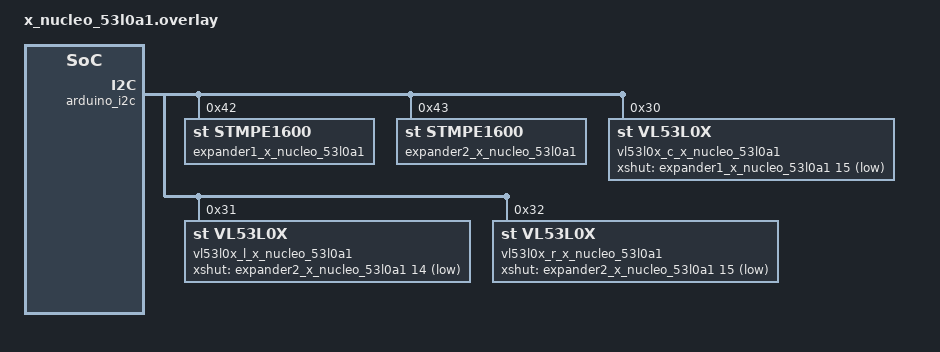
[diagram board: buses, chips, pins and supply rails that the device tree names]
/*
 * Copyright (c) 2021 Titouan Christophe
 *
 * SPDX-License-Identifier: Apache-2.0
 */
&arduino_i2c {
	expander1_x_nucleo_53l0a1: stmpe1600@42 {
		compatible = "st,stmpe1600";
		reg = <0x42>;
		ngpios = <16>;
		gpio-controller;
		#gpio-cells = <2>;
	};
	expander2_x_nucleo_53l0a1: stmpe1600@43 {
		compatible = "st,stmpe1600";
		reg = <0x43>;
		ngpios = <16>;
		gpio-controller;
		#gpio-cells = <2>;
	};

	/* Center sensor soldered on the shield */
	vl53l0x_c_x_nucleo_53l0a1: vl53l0x@30 {
		compatible = "st,vl53l0x";
		reg = <0x30>;
		xshut-gpios = <&expander1_x_nucleo_53l0a1 15 GPIO_ACTIVE_LOW>;
	};

	/* Satellites optional sensors */
	vl53l0x_l_x_nucleo_53l0a1: vl53l0x@31 {
		compatible = "st,vl53l0x";
		reg = <0x31>;
		xshut-gpios = <&expander2_x_nucleo_53l0a1 14 GPIO_ACTIVE_LOW>;
	};
	vl53l0x_r_x_nucleo_53l0a1: vl53l0x@32 {
		compatible = "st,vl53l0x";
		reg = <0x32>;
		xshut-gpios = <&expander2_x_nucleo_53l0a1 15 GPIO_ACTIVE_LOW>;
	};
};
